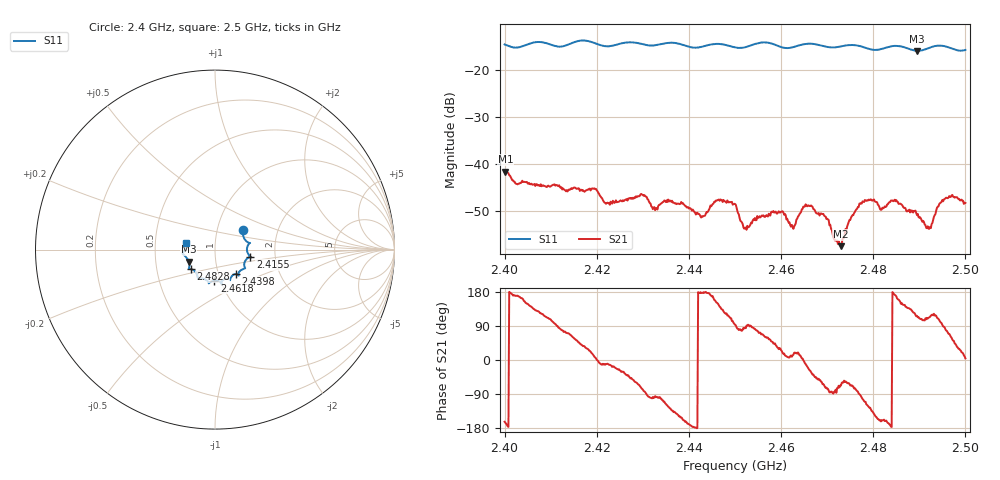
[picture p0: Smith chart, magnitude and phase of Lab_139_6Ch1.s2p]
# Hz S RI R 50
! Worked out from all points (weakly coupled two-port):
!   601 points, 2.4 GHz to 2.5 GHz, reference 50 ohm
!   highest |S21| = -41.57 dB at 2.4002 GHz (marker M1); lowest = -57.4 dB at 2.473 GHz (marker M2)
!   lowest |S11| = -15.9 dB at 2.4895 GHz (marker M3), VSWR 1.38, Z = 37 - j5.04 ohm
!   |S11| at or under -10 dB: start of sweep to end of sweep
!   S12 and S22 are empty: the file has one direction only
!   S11 on the Smith chart (normalised r, x): 2.4 GHz: 1.33, +0.29; 2.4155 GHz: 1.49, -0.12; 2.4398 GHz: 1.21, -0.34; 2.4618 GHz: 0.94, -0.33; 2.4828 GHz: 0.74, -0.17; 2.5 GHz: 0.72, +0.06
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2.4e9  0.1547 0.1067  -0.00795 -0.00245  0 0  0 0
2.400167e9  0.1544 0.1044  -0.0081 -0.00203  0 0  0 0
2.402667e9  0.1619 0.0638  -0.00605 0.00111  0 0  0 0
2.4155e9  0.1975 -0.0396  0.00336 0.00437  0 0  0 0
2.416667e9  0.2023 -0.0428  0.0041 0.00343  0 0  0 0
2.433333e9  0.1299 -0.1342  -0.000617 -0.00353  0 0  0 0
2.439833e9  0.1152 -0.136  -0.00341 -0.000716  0 0  0 0
2.443e9  0.0886 -0.1548  -0.00277 0.000149  0 0  0 0
2.446e9  0.0845 -0.1707  -0.0036 0.00195  0 0  0 0
2.45e9  0.065 -0.1625  -0.00022 0.00377  0 0  0 0
2.452333e9  0.042 -0.1709  0.000223 0.0021  0 0  0 0
2.458333e9  0.0352 -0.1861  0.00232 0.00217  0 0  0 0
2.461833e9  -0.00348 -0.1724  0.00239 0.000279  0 0  0 0
2.466667e9  -0.0346 -0.1879  0.00294 -0.00205  0 0  0 0
2.473e9  -0.0807 -0.1597  0.000519 -0.00124  0 0  0 0
2.4775e9  -0.0976 -0.149  -0.000595 -0.00376  0 0  0 0
2.482833e9  -0.1359 -0.1085  -0.00332 -0.00122  0 0  0 0
2.483333e9  -0.1397 -0.1084  -0.00377 -0.000877  0 0  0 0
2.4895e9  -0.1461 -0.0665  -0.00128 0.00257  0 0  0 0
2.492e9  -0.1681 -0.0344  -0.000758 0.00192  0 0  0 0
2.4955e9  -0.1791 -0.0177  0.000317 0.00425  0 0  0 0
2.5e9  -0.1593 0.0391  0.00385 0.000287  0 0  0 0
